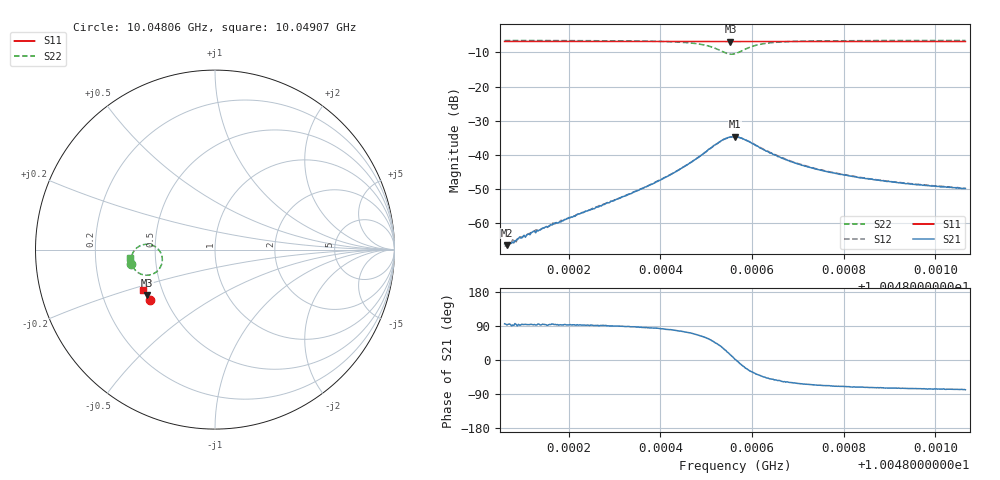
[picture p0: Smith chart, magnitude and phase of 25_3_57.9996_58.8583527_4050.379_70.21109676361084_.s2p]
#  HZ  S  RI  R  50.00
! Rohde & Schwarz Vector Network Analyzer
! Rohde-Schwarz,ZNB20-2Port,1311601062101988,3.16
! Created: UTC 3/21/2024, 12:51:21 AM
! freq[Hz]  re:S11  im:S11  re:S21  im:S21  re:S12  im:S12  re:S22  im:S22
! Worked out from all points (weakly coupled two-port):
!   401 points, 10.04806 GHz to 10.04907 GHz, reference 50 ohm
!   highest |S21| = -34.67 dB at 10.04856 GHz (marker M1); lowest = -66.5 dB at 10.04806 GHz (marker M2)
!   lowest |S11| = -6.8 dB at 10.04855 GHz (marker M3), VSWR 2.68, Z = 20.1 - j12.9 ohm
!   |S11| at or under -10 dB: nowhere
!   |S22| runs from -10.5 to -6.5 dB; largest |S21 - S12| = 0.0016
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1.004806e10  -0.3636 -0.2809  -4.8e-05 0.000489  -4.72e-05 0.00046  -0.4671 -0.0782
1.0048065e10  -0.3637 -0.2809  -2.06e-05 0.000473  -5.81e-05 0.000475  -0.4672 -0.0777
1.0048077e10  -0.3642 -0.2801  -2.03e-05 0.000519  -8.72e-05 0.000558  -0.4673 -0.0764
1.0048087e10  -0.3647 -0.2795  5.43e-08 0.000579  -8.37e-05 0.000565  -0.4674 -0.0753
1.0048108e10  -0.3654 -0.2784  -4.03e-05 0.000657  -8.21e-05 0.000659  -0.4676 -0.0733
1.0048228e10  -0.3701 -0.2717  -4.99e-05 0.0014  -0.000132 0.00141  -0.4675 -0.0583
1.0048329e10  -0.3741 -0.2661  6.58e-05 0.0026  -7.91e-05 0.00258  -0.4652 -0.0402
1.0048397e10  -0.3764 -0.2621  0.000481 0.00414  0.000242 0.0042  -0.4591 -0.0217
1.0048442e10  -0.3779 -0.2595  0.00145 0.00591  0.00111 0.00601  -0.4479 -0.00292
1.004849e10  -0.3794 -0.2563  0.0045 0.00881  0.00401 0.00905  -0.4136 0.0232
1.0048525e10  -0.38 -0.2541  0.011 0.00979  0.0103 0.0104  -0.3502 0.0247
1.004854e10  -0.3801 -0.2533  0.015 0.00775  0.0144 0.00876  -0.3153 0.00105
1.0048553e10  -0.3801 -0.253  0.0178 0.00429  0.0172 0.00542  -0.2961 -0.0354
1.0048563e10  -0.3804 -0.2527  0.0185 0.0006  0.0181 0.00197  -0.2945 -0.0696
1.0048575e10  -0.3808 -0.2526  0.0172 -0.00345  0.0175 -0.00224  -0.3101 -0.1069
1.004859e10  -0.3817 -0.252  0.0144 -0.00665  0.015 -0.00562  -0.3412 -0.1336
1.0048626e10  -0.3834 -0.2503  0.00833 -0.00833  0.00914 -0.00772  -0.4024 -0.1399
1.0048678e10  -0.3857 -0.2474  0.0043 -0.00699  0.00478 -0.00679  -0.4411 -0.1178
1.0048731e10  -0.3877 -0.2443  0.00269 -0.00577  0.00307 -0.00566  -0.4553 -0.0999
1.0048789e10  -0.3898 -0.2408  0.00184 -0.00487  0.00212 -0.00481  -0.4626 -0.086
1.00489e10  -0.3935 -0.2345  0.00111 -0.00388  0.00134 -0.00383  -0.4684 -0.068
1.0049066e10  -0.3988 -0.2247  0.000634 -0.00313  0.000852 -0.00313  -0.4718 -0.0489
